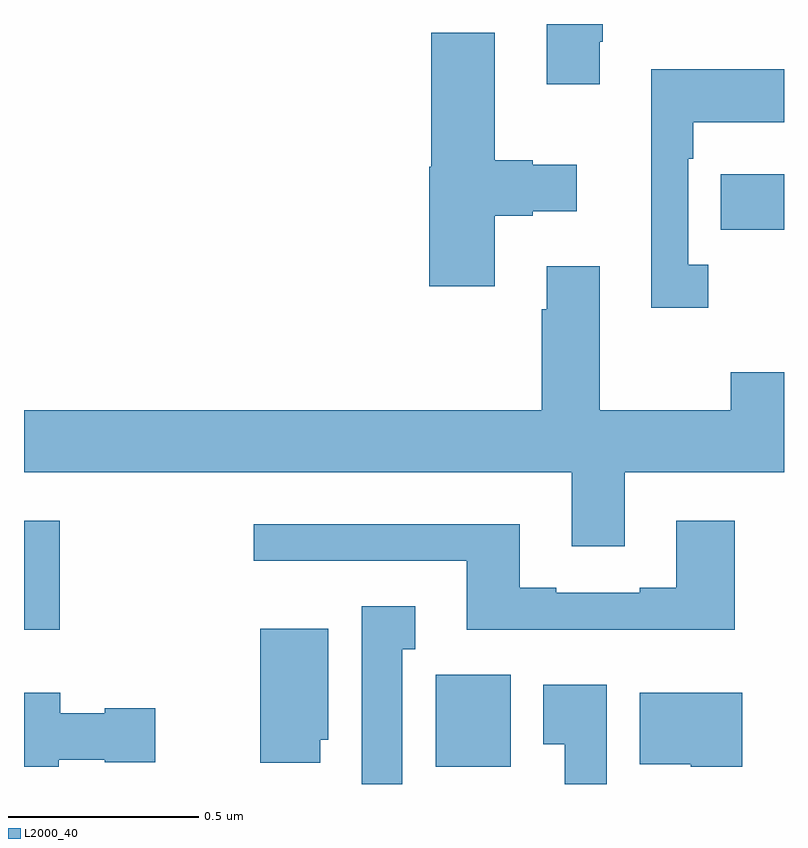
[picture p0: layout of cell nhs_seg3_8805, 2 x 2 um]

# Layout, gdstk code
import gdstk
lib = gdstk.Library(unit=1e-6, precision=1e-09)
def R(c, l, rs):  # rectangles x0, y0, x1, y1
    for r in rs: c.add(gdstk.rectangle(r[:2], r[2:], *l))
def P(c, l, *ps):  # polygons
    for p in ps: c.add(gdstk.Polygon(p, *l))
L2000_40 = (2000, 40)

nhs_seg3_8805 = lib.new_cell('nhs_seg3_8805')
R(nhs_seg3_8805, L2000_40, [(221.084,729.446,221.281,729.688), (220,729.806,220.094,730.093), (221.833,730.858,222,731.005)])
P(nhs_seg3_8805, L2000_40, [(221.515,731.353),(221.523,731.353),(221.523,731.4),(221.375,731.4),(221.375,731.241),(221.515,731.241)],
  [(221.239,730.895),(221.339,730.895),(221.339,730.907),(221.455,730.907),(221.455,731.029),(221.339,731.029),(221.339,731.042),(221.239,731.042),(221.239,731.377),(221.072,731.377),(221.072,731.025),(221.066,731.025),(221.066,730.71),(221.239,730.71)],
  [(221.8,730.766),(221.748,730.766),(221.748,731.045),(221.761,731.045),(221.761,731.141),(222,731.141),(222,731.281),(221.651,731.281),(221.651,730.653),(221.8,730.653)],
  [(221.581,730.22),(222,730.22),(222,730.483),(221.86,730.483),(221.86,730.384),(221.515,730.384),(221.515,730.762),(221.375,730.762),(221.375,730.649),(221.363,730.649),(221.363,730.384),(220,730.384),(220,730.22),(221.441,730.22),(221.441,730.026),(221.581,730.026)],
  [(221.87,730.093),(221.717,730.093),(221.717,729.916),(221.621,729.916),(221.621,729.903),(221.401,729.903),(221.401,729.916),(221.305,729.916),(221.305,730.084),(220.605,730.084),(220.605,729.987),(221.165,729.987),(221.165,729.806),(221.87,729.806)],
  [(220.996,729.755),(221.029,729.755),(221.029,729.868),(220.889,729.868),(220.889,729.4),(220.996,729.4)],
  [(220.78,729.516),(220.801,729.516),(220.801,729.808),(220.622,729.808),(220.622,729.456),(220.78,729.456)],
  [(221.533,729.661),(221.366,729.661),(221.366,729.505),(221.423,729.505),(221.423,729.4),(221.533,729.4)],
  [(221.89,729.64),(221.621,729.64),(221.621,729.452),(221.754,729.452),(221.754,729.446),(221.89,729.446)],
  [(220.092,729.464),(220.212,729.464),(220.212,729.457),(220.345,729.457),(220.345,729.599),(220.212,729.599),(220.212,729.586),(220.096,729.586),(220.096,729.64),(220,729.64),(220,729.446),(220.092,729.446)])

lib.write_gds('nhs_seg3_8805.gds')
